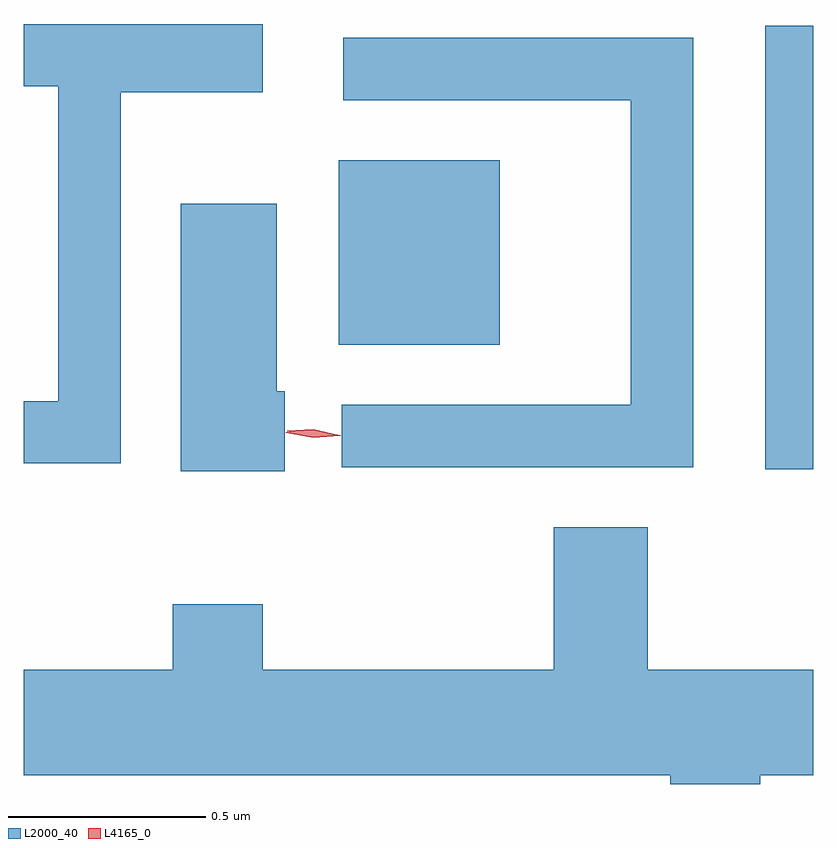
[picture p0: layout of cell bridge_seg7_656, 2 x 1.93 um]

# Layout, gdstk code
import gdstk
lib = gdstk.Library(unit=1e-6, precision=1e-09)
def R(c, l, rs):  # rectangles x0, y0, x1, y1
    for r in rs: c.add(gdstk.rectangle(r[:2], r[2:], *l))
def P(c, l, *ps):  # polygons
    for p in ps: c.add(gdstk.Polygon(p, *l))
L2000_40 = (2000, 40)
L4165_0 = (4165, 0)

bridge_seg7_656 = lib.new_cell('bridge_seg7_656')
R(bridge_seg7_656, L2000_40, [(761.751,1688.451,761.873,1689.574), (760.671,1688.766,761.079,1689.234)])
P(bridge_seg7_656, L2000_40, [(760.119,1689.406),(760.479,1689.406),(760.479,1689.579),(759.873,1689.579),(759.873,1689.421),(759.961,1689.421),(759.961,1688.624),(759.873,1688.624),(759.873,1688.466),(760.119,1688.466)],
  [(761.569,1689.544),(760.683,1689.544),(760.683,1689.386),(761.411,1689.386),(761.411,1688.614),(760.678,1688.614),(760.678,1688.456),(761.569,1688.456)],
  [(760.534,1688.649),(760.514,1688.649),(760.514,1689.124),(760.271,1689.124),(760.271,1688.446),(760.534,1688.446)],
  [(761.739,1687.676),(761.873,1687.676),(761.873,1687.944),(761.454,1687.944),(761.454,1688.304),(761.216,1688.304),(761.216,1687.944),(760.479,1687.944),(760.479,1688.109),(760.251,1688.109),(760.251,1687.944),(759.873,1687.944),(759.873,1687.676),(761.511,1687.676),(761.511,1687.654),(761.739,1687.654)])
P(bridge_seg7_656, L4165_0, [(760.606,1688.531),(760.538,1688.544),(760.537,1688.544),(760.538,1688.545),(760.607,1688.55),(760.675,1688.537),(760.676,1688.537),(760.675,1688.536)],
  [(760.605,1688.533),(760.541,1688.548),(760.54,1688.549),(760.541,1688.549),(760.607,1688.553),(760.672,1688.537),(760.672,1688.537),(760.672,1688.536)])

lib.write_gds('bridge_seg7_656.gds')
